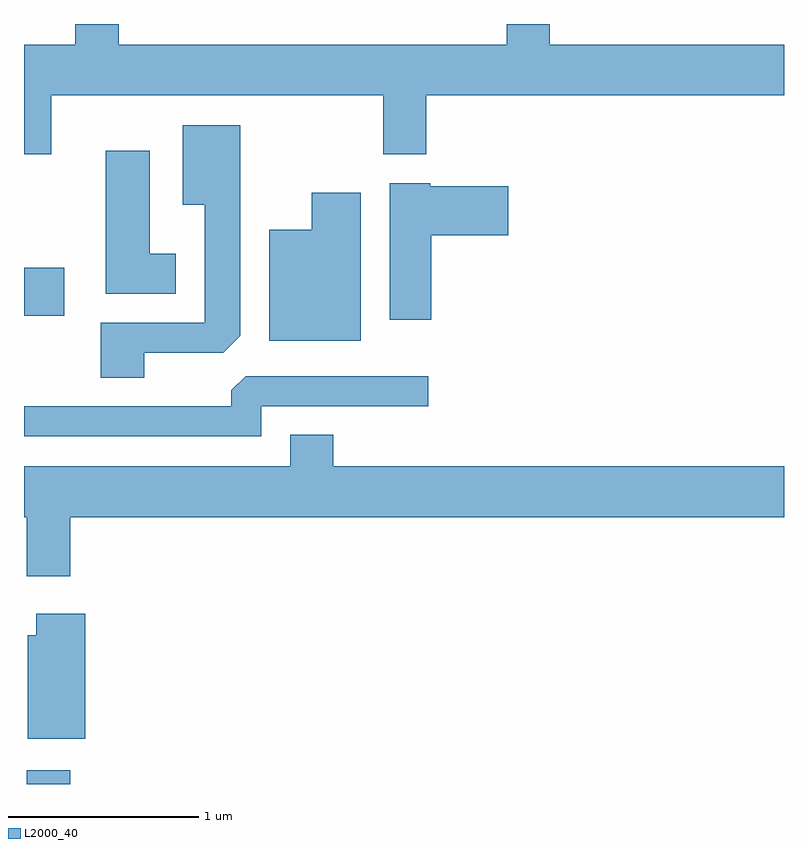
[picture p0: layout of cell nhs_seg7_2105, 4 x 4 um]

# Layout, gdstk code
import gdstk
lib = gdstk.Library(unit=1e-6, precision=1e-09)
def R(c, l, rs):  # rectangles x0, y0, x1, y1
    for r in rs: c.add(gdstk.rectangle(r[:2], r[2:], *l))
def P(c, l, *ps):  # polygons
    for p in ps: c.add(gdstk.Polygon(p, *l))
L2000_40 = (2000, 40)

nhs_seg7_2105 = lib.new_cell('nhs_seg7_2105')
R(nhs_seg7_2105, L2000_40, [(249.626,1706.252,249.854,1706.324), (249.611,1708.716,249.824,1708.969)])
P(nhs_seg7_2105, L2000_40, [(249.754,1709.876),(251.501,1709.876),(251.501,1709.566),(251.729,1709.566),(251.729,1709.876),(253.611,1709.876),(253.611,1710.144),(252.379,1710.144),(252.379,1710.252),(252.151,1710.252),(252.151,1710.144),(250.109,1710.144),(250.109,1710.252),(249.881,1710.252),(249.881,1710.144),(249.611,1710.144),(249.611,1709.566),(249.754,1709.566)],
  [(250.244,1708.521),(250.659,1708.521),(250.749,1708.612),(250.749,1709.719),(250.446,1709.719),(250.446,1709.301),(250.561,1709.301),(250.561,1708.679),(250.016,1708.679),(250.016,1708.391),(250.244,1708.391)],
  [(250.409,1709.044),(250.274,1709.044),(250.274,1709.584),(250.041,1709.584),(250.041,1708.831),(250.409,1708.831)],
  [(251.754,1709.141),(252.159,1709.141),(252.159,1709.399),(251.75,1709.399),(251.75,1709.414),(251.536,1709.414),(251.536,1708.696),(251.754,1708.696)],
  [(251.384,1709.364),(251.126,1709.364),(251.126,1709.169),(250.901,1709.169),(250.901,1708.586),(251.384,1708.586)],
  [(250.859,1708.241),(251.738,1708.241),(251.738,1708.399),(250.777,1708.399),(250.701,1708.324),(250.701,1708.239),(249.611,1708.239),(249.611,1708.081),(250.859,1708.081)],
  [(249.854,1707.656),(253.611,1707.656),(253.611,1707.924),(251.239,1707.924),(251.239,1708.089),(251.011,1708.089),(251.011,1707.924),(249.611,1707.924),(249.611,1707.656),(249.626,1707.656),(249.626,1707.346),(249.854,1707.346)],
  [(249.934,1707.149),(249.676,1707.149),(249.676,1707.034),(249.631,1707.034),(249.631,1706.491),(249.934,1706.491)])

lib.write_gds('nhs_seg7_2105.gds')
